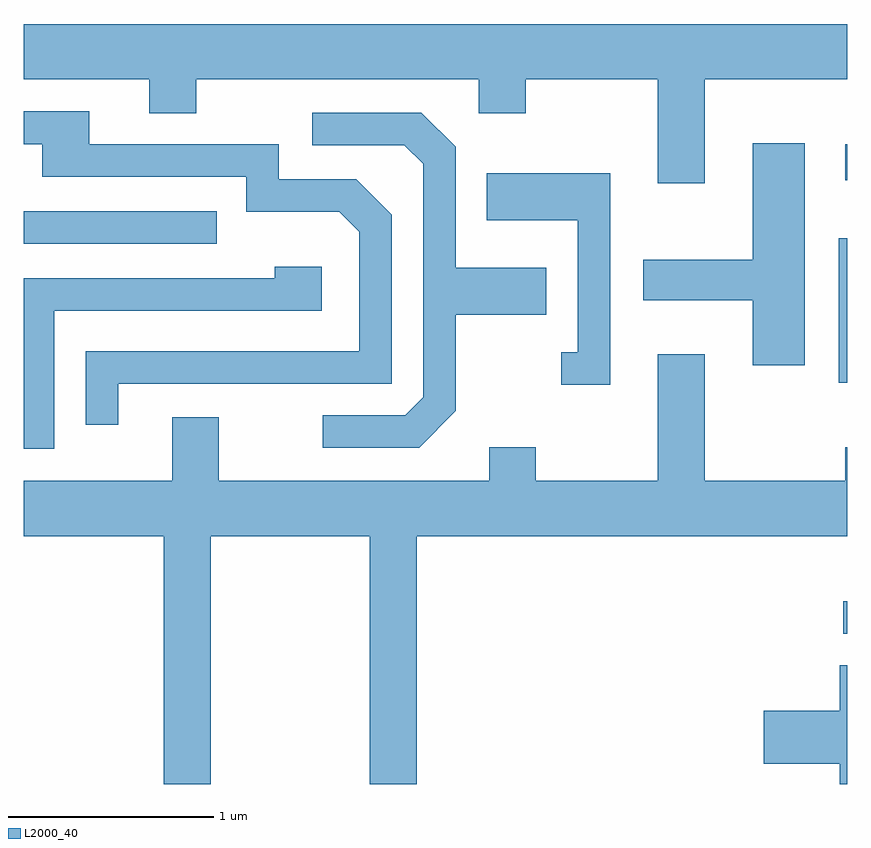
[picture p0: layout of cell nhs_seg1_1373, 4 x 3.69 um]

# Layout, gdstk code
import gdstk
lib = gdstk.Library(unit=1e-6, precision=1e-09)
def R(c, l, rs):  # rectangles x0, y0, x1, y1
    for r in rs: c.add(gdstk.rectangle(r[:2], r[2:], *l))
def P(c, l, *ps):  # polygons
    for p in ps: c.add(gdstk.Polygon(p, *l))
L2000_40 = (2000, 40)

nhs_seg1_1373 = lib.new_cell('nhs_seg1_1373')
R(nhs_seg1_1373, L2000_40, [(231.593,892.441,231.611,892.599), (231.571,893.661,231.611,894.364), (227.611,894.336,228.548,894.494), (231.601,894.646,231.611,894.819)])
P(nhs_seg1_1373, L2000_40, [(230.919,895.136),(231.611,895.136),(231.611,895.404),(227.611,895.404),(227.611,895.136),(228.221,895.136),(228.221,894.971),(228.449,894.971),(228.449,895.136),(229.821,895.136),(229.821,894.971),(230.049,894.971),(230.049,895.136),(230.691,895.136),(230.691,894.631),(230.919,894.631)],
  [(228.069,893.656),(229.399,893.656),(229.399,894.477),(229.227,894.649),(228.849,894.649),(228.849,894.819),(227.929,894.819),(227.929,894.979),(227.611,894.979),(227.611,894.821),(227.701,894.821),(227.701,894.661),(228.691,894.661),(228.691,894.491),(229.144,894.491),(229.241,894.394),(229.241,893.814),(227.911,893.814),(227.911,893.458),(228.069,893.458)],
  [(229.709,893.524),(229.709,893.991),(230.149,893.991),(230.149,894.219),(229.709,894.219),(229.709,894.807),(229.542,894.974),(229.013,894.974),(229.013,894.816),(229.459,894.816),(229.551,894.724),(229.551,893.592),(229.464,893.504),(229.063,893.504),(229.063,893.346),(229.532,893.346)],
  [(231.404,894.824),(231.151,894.824),(231.151,894.259),(230.621,894.259),(230.621,894.061),(231.151,894.061),(231.151,893.746),(231.404,893.746)],
  [(230.459,894.679),(229.861,894.679),(229.861,894.451),(230.301,894.451),(230.301,893.809),(230.223,893.809),(230.223,893.651),(230.459,893.651)],
  [(227.759,894.011),(229.059,894.011),(229.059,894.224),(228.831,894.224),(228.831,894.169),(227.611,894.169),(227.611,893.341),(227.759,893.341)],
  [(228.519,892.916),(229.291,892.916),(229.291,891.712),(229.519,891.712),(229.519,892.916),(231.611,892.916),(231.611,893.349),(231.601,893.349),(231.601,893.184),(230.919,893.184),(230.919,893.799),(230.691,893.799),(230.691,893.184),(230.099,893.184),(230.099,893.349),(229.871,893.349),(229.871,893.184),(228.559,893.184),(228.559,893.494),(228.331,893.494),(228.331,893.184),(227.611,893.184),(227.611,892.916),(228.291,892.916),(228.291,891.712),(228.519,891.712)],
  [(231.611,892.289),(231.576,892.289),(231.576,892.069),(231.206,892.069),(231.206,891.811),(231.576,891.811),(231.576,891.712),(231.611,891.712)])

lib.write_gds('nhs_seg1_1373.gds')
